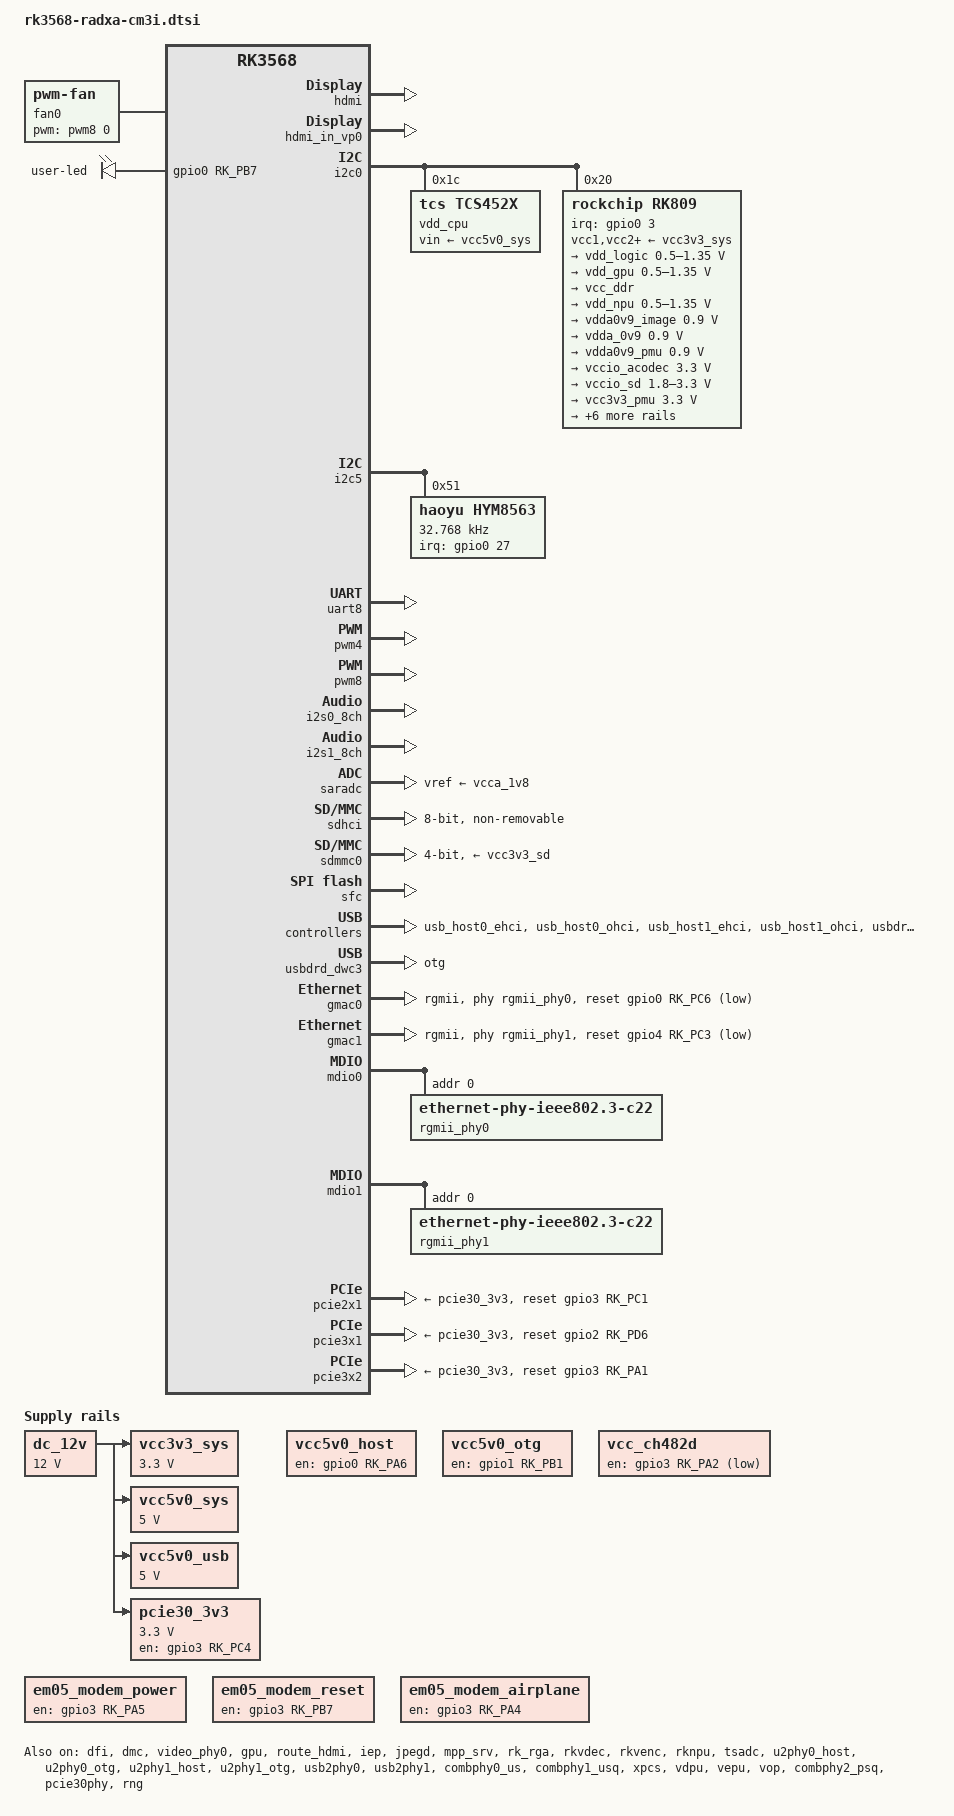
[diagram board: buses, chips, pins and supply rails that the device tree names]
/dts-v1/;
#include <dt-bindings/gpio/gpio.h>
#include <dt-bindings/pwm/pwm.h>
#include <dt-bindings/pinctrl/rockchip.h>
#include <dt-bindings/input/rk-input.h>
#include <dt-bindings/display/drm_mipi_dsi.h>
#include <dt-bindings/sensor-dev.h>
#include "rk3568.dtsi"
#include "rk3568-android.dtsi"
#include "rk3568-radxa-cm3i-10inch-FHD-touchscreen.dtsi"
#include "rk3568-radxa-cm3i_219.dtsi"


/ {
	compatible = "rockchip,rk3568-radxa-cm3i", "rockchip,rk3568";
	fan0: pwm-fan {
		compatible = "pwm-fan";
		#cooling-cells = <2>;
		cooling-levels = <0 64 128 192 255>;
		pwms = <&pwm8 0 10000 0>;
	};

	audiopwmout_diff: audiopwmout-diff {
		status = "disabled";
		compatible = "simple-audio-card";
		simple-audio-card,format = "i2s";
		simple-audio-card,name = "rockchip,audiopwmout-diff";
		simple-audio-card,mclk-fs = <256>;
		simple-audio-card,bitclock-master = <&master>;
		simple-audio-card,frame-master = <&master>;
		simple-audio-card,cpu {
			sound-dai = <&i2s3_2ch>;
		};
		master: simple-audio-card,codec {
			sound-dai = <&dig_acodec>;
		};
	};

	hdmi_sound: hdmi-sound {
		compatible = "simple-audio-card";
		simple-audio-card,format = "i2s";
		simple-audio-card,mclk-fs = <128>;
		simple-audio-card,name = "rockchip,hdmi";
		status = "okay";

		simple-audio-card,cpu {
				sound-dai = <&i2s0_8ch>;
		};
		simple-audio-card,codec {
				sound-dai = <&hdmi>;
		};
	};

	pdmics: dummy-codec {
		status = "disabled";
		compatible = "rockchip,dummy-codec";
		#sound-dai-cells = <0>;
	};

	pdm_mic_array: pdm-mic-array {
		status = "disabled";
		compatible = "simple-audio-card";
		simple-audio-card,name = "rockchip,pdm-mic-array";
		simple-audio-card,cpu {
			sound-dai = <&pdm>;
		};
		simple-audio-card,codec {
			sound-dai = <&pdmics>;
		};
	};

	rk809_sound: rk809-sound {
		status = "okay";
		compatible = "simple-audio-card";
		simple-audio-card,format = "i2s";
		simple-audio-card,name = "rockchip,rk809-codec";
		simple-audio-card,mclk-fs = <256>;

		simple-audio-card,cpu {
			sound-dai = <&i2s1_8ch>;
		};
		simple-audio-card,codec {
			sound-dai = <&rk809_codec>;
		};
	};

	dc_12v: dc-12v {
		compatible = "regulator-fixed";
		regulator-name = "dc_12v";
		regulator-always-on;
		regulator-boot-on;
		regulator-min-microvolt = <12000000>;
		regulator-max-microvolt = <12000000>;
	};

	vcc3v3_sys: vcc3v3-sys {
		compatible = "regulator-fixed";
		regulator-name = "vcc3v3_sys";
		regulator-always-on;
		regulator-boot-on;
		regulator-min-microvolt = <3300000>;
		regulator-max-microvolt = <3300000>;
		vin-supply = <&dc_12v>;
	};

	vcc5v0_sys: vcc5v0-sys {
		compatible = "regulator-fixed";
		regulator-name = "vcc5v0_sys";
		regulator-always-on;
		regulator-boot-on;
		regulator-min-microvolt = <5000000>;
		regulator-max-microvolt = <5000000>;
		vin-supply = <&dc_12v>;
	};

	vcc5v0_usb: vcc5v0-usb {
		compatible = "regulator-fixed";
		regulator-name = "vcc5v0_usb";
		regulator-always-on;
		regulator-boot-on;
		regulator-min-microvolt = <5000000>;
		regulator-max-microvolt = <5000000>;
		vin-supply = <&dc_12v>;
	};

	vcc5v0_host: vcc5v0-host-regulator {
		compatible = "regulator-fixed";
		enable-active-high;
		gpio = <&gpio0 RK_PA6 GPIO_ACTIVE_HIGH>;
		pinctrl-names = "default";
		pinctrl-0 = <&vcc5v0_host_en>;
		regulator-name = "vcc5v0_host";
		regulator-always-on;
	};

	vcc5v0_otg: vcc5v0-otg-regulator {
		compatible = "regulator-fixed";
		enable-active-high;
		gpio = <&gpio1 RK_PB1 GPIO_ACTIVE_HIGH>;
		pinctrl-names = "default";
		pinctrl-0 = <&vcc5v0_otg_en>;
		regulator-name = "vcc5v0_otg";
	};

	pcie30_3v3: gpio-regulator {
		compatible = "regulator-fixed";
		regulator-name = "vcc3v3_pcie";
		regulator-min-microvolt = <3300000>;
		regulator-max-microvolt = <3300000>;
		enable-active-high;
		gpio = <&gpio3 RK_PC4 GPIO_ACTIVE_HIGH>;
		startup-delay-us = <5000>;
		vin-supply = <&dc_12v>;
	};

	gpio_leds: gpio-leds {
		compatible = "gpio-leds";
		status = "okay";

		user-led {
			gpios = <&gpio0 RK_PB7 GPIO_ACTIVE_HIGH>;
			linux,default-trigger = "heartbeat";
			default-state = "on";
			pinctrl-0 = <&user_led>;
		};
	};

	test-power {
		status = "okay";
	};

	vcc_ch482d: vcc-ch482d-regulator {
		compatible = "regulator-fixed";
		gpio = <&gpio3 RK_PA2 GPIO_ACTIVE_LOW>;
		pinctrl-names = "default";
		pinctrl-0 = <&ch482d_en>;
		regulator-name = "vcc_ch482d1";
		regulator-always-on;
		regulator-boot-on;
	};

	em05_modem_power: em05-modem-power-regulator {
		compatible = "regulator-fixed";
		regulator-name = "em05_modem_power";
		enable-active-high;
		gpio = <&gpio3 RK_PA5 GPIO_ACTIVE_HIGH>;
		regulator-boot-on;
		regulator-always-on;
	};

	em05_modem_reset: em05-modem-reset-regulator {
		compatible = "regulator-fixed";
		regulator-name = "em05_modem_reset";
		enable-active-high;
		gpio = <&gpio3 RK_PB7 GPIO_ACTIVE_HIGH>;
		regulator-boot-on;
		regulator-always-on;
	};

	em05_modem_airplane: em05-modem-airplane-regulator {
		compatible = "regulator-fixed";
		regulator-name = "em05_modem_airplane";
		enable-active-high;
		gpio = <&gpio3 RK_PA4 GPIO_ACTIVE_HIGH>;
		regulator-boot-on;
		regulator-always-on;
	};
};

&cpu0 {
	cpu-supply = <&vdd_cpu>;
};

&dfi {
	status = "okay";
};

&dmc {
	center-supply = <&vdd_logic>;
	status = "okay";
};

&video_phy0 {
	status = "okay";
};

&gpu {
	mali-supply = <&vdd_gpu>;
	status = "okay";
};

&hdmi {
	status = "okay";
	rockchip,phy-table =
		<92812500  0x8009 0x0000 0x0270>,
		<165000000 0x800b 0x0000 0x026d>,
		<185625000 0x800b 0x0000 0x01ed>,
		<297000000 0x800b 0x0000 0x01ad>,
		<594000000 0x8029 0x0000 0x0088>,
		<000000000 0x0000 0x0000 0x0000>;
};

&hdmi_in_vp0 {
	status = "okay";
};

&hdmi_in_vp1 {
	status = "disabled";
};

&hdmi_sound {
	status = "okay";
};

&route_hdmi {
	status = "okay";
	connect = <&vp0_out_hdmi>;
};

&i2c0 {
	status = "okay";

	vdd_cpu: tcs4525@1c {
		compatible = "tcs,tcs452x";
		reg = <0x1c>;
		vin-supply = <&vcc5v0_sys>;
		regulator-compatible = "fan53555-reg";
		regulator-name = "vdd_cpu";
		regulator-min-microvolt = <712500>;
		regulator-max-microvolt = <1390000>;
		regulator-init-microvolt = <900000>;
		regulator-ramp-delay = <2300>;
		fcs,suspend-voltage-selector = <1>;
		regulator-boot-on;
		regulator-always-on;
		regulator-state-mem {
			regulator-off-in-suspend;
		};
	};

	rk809: pmic@20 {
		compatible = "rockchip,rk809";
		reg = <0x20>;
		interrupt-parent = <&gpio0>;
		interrupts = <3 IRQ_TYPE_LEVEL_LOW>;

		pinctrl-names = "default", "pmic-sleep",
				"pmic-power-off", "pmic-reset";
		pinctrl-0 = <&pmic_int>;
		pinctrl-1 = <&soc_slppin_slp>, <&rk817_slppin_slp>;
		pinctrl-2 = <&soc_slppin_gpio>, <&rk817_slppin_pwrdn>;
		pinctrl-3 = <&soc_slppin_gpio>, <&rk817_slppin_rst>;

		rockchip,system-power-controller;
		wakeup-source;
		#clock-cells = <1>;
		clock-output-names = "rk808-clkout1", "rk808-clkout2";
		//fb-inner-reg-idxs = <2>;
		/* 1: rst regs (default in codes), 0: rst the pmic */
		pmic-reset-func = <0>;
		/* not save the PMIC_POWER_EN register in uboot */
		not-save-power-en = <1>;

		vcc1-supply = <&vcc3v3_sys>;
		vcc2-supply = <&vcc3v3_sys>;
		vcc3-supply = <&vcc3v3_sys>;
		vcc4-supply = <&vcc3v3_sys>;
		vcc5-supply = <&vcc3v3_sys>;
		vcc6-supply = <&vcc3v3_sys>;
		vcc7-supply = <&vcc3v3_sys>;
		vcc8-supply = <&vcc3v3_sys>;
		vcc9-supply = <&vcc3v3_sys>;

		pwrkey {
			status = "okay";
		};

		pinctrl_rk8xx: pinctrl_rk8xx {
			gpio-controller;
			#gpio-cells = <2>;

			rk817_slppin_null: rk817_slppin_null {
				pins = "gpio_slp";
				function = "pin_fun0";
			};

			rk817_slppin_slp: rk817_slppin_slp {
				pins = "gpio_slp";
				function = "pin_fun1";
			};

			rk817_slppin_pwrdn: rk817_slppin_pwrdn {
				pins = "gpio_slp";
				function = "pin_fun2";
			};

			rk817_slppin_rst: rk817_slppin_rst {
				pins = "gpio_slp";
				function = "pin_fun3";
			};
		};

		regulators {
			vdd_logic: DCDC_REG1 {
				regulator-always-on;
				regulator-boot-on;
				regulator-min-microvolt = <500000>;
				regulator-max-microvolt = <1350000>;
				regulator-init-microvolt = <900000>;
				regulator-ramp-delay = <6001>;
				regulator-initial-mode = <0x2>;
				regulator-name = "vdd_logic";
				regulator-state-mem {
					regulator-off-in-suspend;
				};
			};

			vdd_gpu: DCDC_REG2 {
				regulator-always-on;
				regulator-boot-on;
				regulator-min-microvolt = <500000>;
				regulator-max-microvolt = <1350000>;
				regulator-init-microvolt = <900000>;
				regulator-ramp-delay = <6001>;
				regulator-initial-mode = <0x2>;
				regulator-name = "vdd_gpu";
				regulator-state-mem {
					regulator-off-in-suspend;
				};
			};

			vcc_ddr: DCDC_REG3 {
				regulator-always-on;
				regulator-boot-on;
				regulator-initial-mode = <0x2>;
				regulator-name = "vcc_ddr";
				regulator-state-mem {
					regulator-on-in-suspend;
				};
			};

			vdd_npu: DCDC_REG4 {
				regulator-always-on;
				regulator-boot-on;
				regulator-min-microvolt = <500000>;
				regulator-max-microvolt = <1350000>;
				regulator-init-microvolt = <900000>;
				regulator-ramp-delay = <6001>;
				regulator-initial-mode = <0x2>;
				regulator-name = "vdd_npu";
				regulator-state-mem {
					regulator-off-in-suspend;
				};
			};

			vdda0v9_image: LDO_REG1 {
				regulator-boot-on;
				regulator-always-on;
				regulator-min-microvolt = <900000>;
				regulator-max-microvolt = <900000>;
				regulator-name = "vdda0v9_image";
				regulator-state-mem {
					regulator-off-in-suspend;
				};
			};

			vdda_0v9: LDO_REG2 {
				regulator-always-on;
				regulator-boot-on;
				regulator-min-microvolt = <900000>;
				regulator-max-microvolt = <900000>;
				regulator-name = "vdda_0v9";
				regulator-state-mem {
					regulator-off-in-suspend;
				};
			};

			vdda0v9_pmu: LDO_REG3 {
				regulator-always-on;
				regulator-boot-on;
				regulator-min-microvolt = <900000>;
				regulator-max-microvolt = <900000>;
				regulator-name = "vdda0v9_pmu";
				regulator-state-mem {
					regulator-on-in-suspend;
					regulator-suspend-microvolt = <900000>;
				};
			};

			vccio_acodec: LDO_REG4 {
				regulator-always-on;
				regulator-boot-on;
				regulator-min-microvolt = <3300000>;
				regulator-max-microvolt = <3300000>;
				regulator-name = "vccio_acodec";
				regulator-state-mem {
					regulator-off-in-suspend;
				};
			};

			vccio_sd: LDO_REG5 {
				regulator-always-on;
				regulator-boot-on;
				regulator-min-microvolt = <1800000>;
				regulator-max-microvolt = <3300000>;
				regulator-name = "vccio_sd";
				regulator-state-mem {
					regulator-off-in-suspend;
				};
			};

			vcc3v3_pmu: LDO_REG6 {
				regulator-always-on;
				regulator-boot-on;
				regulator-min-microvolt = <3300000>;
				regulator-max-microvolt = <3300000>;
				regulator-name = "vcc3v3_pmu";
				regulator-state-mem {
					regulator-on-in-suspend;
					regulator-suspend-microvolt = <3300000>;
				};
			};

			vcca_1v8: LDO_REG7 {
				regulator-always-on;
				regulator-boot-on;
				regulator-min-microvolt = <1800000>;
				regulator-max-microvolt = <1800000>;
				regulator-name = "vcca_1v8";
				regulator-state-mem {
					regulator-off-in-suspend;
				};
			};

			vcca1v8_pmu: LDO_REG8 {
				regulator-always-on;
				regulator-boot-on;
				regulator-min-microvolt = <1800000>;
				regulator-max-microvolt = <1800000>;
				regulator-name = "vcca1v8_pmu";
				regulator-state-mem {
					regulator-on-in-suspend;
					regulator-suspend-microvolt = <1800000>;
				};
			};

			vcca1v8_image: LDO_REG9 {
				regulator-always-on;
				regulator-boot-on;
				regulator-min-microvolt = <1800000>;
				regulator-max-microvolt = <1800000>;
				regulator-name = "vcca1v8_image";
				regulator-state-mem {
					regulator-off-in-suspend;
				};
			};

			vcc_1v8: DCDC_REG5 {
				regulator-always-on;
				regulator-boot-on;
				regulator-min-microvolt = <1800000>;
				regulator-max-microvolt = <1800000>;
				regulator-name = "vcc_1v8";
				regulator-state-mem {
					regulator-off-in-suspend;
				};
			};

			vcc_3v3: SWITCH_REG1 {
				regulator-always-on;
				regulator-boot-on;
				regulator-name = "vcc_3v3";
				regulator-state-mem {
					regulator-off-in-suspend;
				};
			};

			vcc3v3_sd: SWITCH_REG2 {
				regulator-always-on;
				regulator-boot-on;
				regulator-name = "vcc3v3_sd";
				regulator-state-mem {
					regulator-off-in-suspend;
				};
			};
		};

		rk809_codec: codec {
			#sound-dai-cells = <0>;
			compatible = "rockchip,rk809-codec", "rockchip,rk817-codec";
			clocks = <&cru I2S1_MCLKOUT>;
			clock-names = "mclk";
			assigned-clocks = <&cru I2S1_MCLKOUT>, <&cru I2S1_MCLK_TX_IOE>;
			assigned-clock-rates = <12288000>;
			assigned-clock-parents = <&cru I2S1_MCLKOUT_TX>, <&cru I2S1_MCLKOUT_TX>;
			pinctrl-names = "default";
			pinctrl-0 = <&i2s1m0_mclk>;
			hp-volume = <20>;
			spk-volume = <3>;
			mic-in-differential;
			status = "okay";
		};
	};
};

//mipi i2c3
// &i2c3 {
// 	status = "okay";
// 	pinctrl-0 = <&i2c3m1_xfer>;	
// };

//RTC
&i2c5 {
	status = "okay";	
	pinctrl-0 = <&i2c5m0_xfer>;

		hym8563: hym8563@51 {
		compatible = "haoyu,hym8563";
		status = "okay";
		reg = <0x51>;
		#clock-cells = <0>;
		clock-frequency = <32768>;
		clock-output-names = "hym8563";
		pinctrl-names = "default";
		pinctrl-0 = <&hym8563_int>;
		interrupt-parent = <&gpio0>;
		interrupts = <27 IRQ_TYPE_LEVEL_LOW>;
	};
};

//bt
&uart8 {
	status = "okay";
	pinctrl-names = "default";
	pinctrl-0 = <&uart8m0_xfer &uart8m0_ctsn>;
};

&pwm4 {
	status = "okay";	//LCD0_BL_PWM4
};

//FAN
&pwm8 {
	status = "okay";
};

&i2s0_8ch {
	status = "okay";
};

&i2s1_8ch {
	status = "okay";
	rockchip,clk-trcm = <1>;
	pinctrl-names = "default";
	pinctrl-0 = <&i2s1m0_sclktx
		     &i2s1m0_lrcktx
		     &i2s1m0_sdi0
		     &i2s1m0_sdo0>;
};

&iep {
	status = "okay";
};

&iep_mmu {
	status = "okay";
};

&jpegd {
	status = "okay";
};

&jpegd_mmu {
	status = "okay";
};

&mpp_srv {
	status = "okay";
};

&pmu_io_domains {
	status = "okay";
	pmuio1-supply = <&vcc3v3_pmu>;
	pmuio2-supply = <&vcc_3v3>;
	vccio1-supply = <&vccio_acodec>;
	vccio3-supply = <&vccio_sd>;
	vccio4-supply = <&vcc_1v8>;
	vccio5-supply = <&vcc_3v3>;
	vccio6-supply = <&vcc_1v8>;
	vccio7-supply = <&vcc_3v3>;
};

&rk_rga {
	status = "okay";
};

&rkvdec {
	status = "okay";
};

&rkvdec_mmu {
	status = "okay";
};

&rkvenc {
	status = "okay";
};

&rkvenc_mmu {
	status = "okay";
};

&rknpu {
	memory-region = <&rknpu_reserved>;
	rknpu-supply = <&vdd_npu>;
	status = "okay";
};

&rknpu_mmu {
	status = "disabled";
};

&saradc {
	status = "okay";
	vref-supply = <&vcca_1v8>;
};

&sdhci {
	bus-width = <8>;
	supports-emmc;
	non-removable;
	rockchip,txclk-tapnum = <0x8>;
	max-frequency = <200000000>;
	status = "okay";
};

//sdcard
&sdmmc0 {
	max-frequency = <150000000>;
	supports-sd;
	bus-width = <4>;
	cap-mmc-highspeed;
	cap-sd-highspeed;
	disable-wp;
	sd-uhs-sdr104;
	vmmc-supply = <&vcc3v3_sd>;
	vqmmc-supply = <&vccio_sd>;
	pinctrl-names = "default";
	pinctrl-0 = <&sdmmc0_bus4 &sdmmc0_clk &sdmmc0_cmd &sdmmc0_det>;
	status = "okay";
};

//wifi、bt

&sfc {
	status = "okay";
};

&tsadc {
	status = "okay";
};

&u2phy0_host {
	status = "okay";
};

&u2phy0_otg {
	vbus-supply = <&vcc5v0_otg>;
	status = "okay";
};

&u2phy1_host {
	status = "okay";
};

&u2phy1_otg {
	status = "okay";
};

/* USB OTG/USB Host_1 USB 2.0 Comb PHY_0 */
&usb2phy0 {
	status = "okay";
};

/* USB Host_2/USB Host_3 USB 2.0 Comb PHY_1 */
&usb2phy1 {
	status = "okay";
};

/* USB 2.0 Host_2 EHCI controller for high speed */
&usb_host0_ehci {
	status = "okay";
};

/* USB 2.0 Host_2 OHCI controller for full/low speed */
&usb_host0_ohci {
	status = "okay";
};

/* USB 2.0 Host_3 EHCI controller for high speed */
&usb_host1_ehci {
	status = "okay";
};

/* USB 2.0 Host_3 OHCI controller for full/low speed */
&usb_host1_ohci {
	status = "okay";
};

&usbdrd_dwc3 {
	dr_mode = "otg";
	extcon=<&usb2phy0>;
	status="okay";
};

/* USB 3.0 OTG controller */
&usbdrd30 {
	status = "okay";
};

&usbhost_dwc3 {
	status = "okay";
};

/* USB 3.0 Host_1 controller */
&usbhost30 {
	status = "okay";
};

/* USB 3.0 OTG/SATA Combo PHY_0 */
&combphy0_us {
//	rockchip,dis-u3otg0-port;
	status = "okay";
};

/* USB 3.0 Host/SATA/QSGMII Combo PHY_1 */
&combphy1_usq {
//	rockchip,dis-u3otg1-port;
	status = "okay";
};

&sata0 {
	status = "disabled";
};

&sata1 {
	status = "disabled";
};

&sata2 {
	status = "disabled";
};

&xpcs {
	status="okay";
};

&vdpu {
	status = "okay";
};

&vdpu_mmu {
	status = "okay";
};

&vepu {
	status = "okay";
};

&vepu_mmu {
	status = "okay";
};

&vop {
	status = "okay";
	assigned-clocks = <&cru DCLK_VOP0>, <&cru DCLK_VOP1>;
	assigned-clock-parents = <&pmucru PLL_HPLL>, <&cru PLL_VPLL>;
	support-multi-area;
};

&vop_mmu {
	status = "okay";
};

&gmac0 {
	phy-mode = "rgmii";
	clock_in_out = "output";

	snps,reset-gpio = <&gpio0 RK_PC6 GPIO_ACTIVE_LOW>; //GMAC0_RSTn_GPIO3_B7
	snps,reset-active-low;
	/* Reset time is 20ms, 100ms for rtl8211f */
	snps,reset-delays-us = <0 20000 100000>;

	assigned-clocks = <&cru SCLK_GMAC0_RX_TX>, <&cru SCLK_GMAC0>;
	assigned-clock-parents = <&cru SCLK_GMAC0_RGMII_SPEED>;
	assigned-clock-rates = <0>, <125000000>;

	pinctrl-names = "default";
	pinctrl-0 = <&gmac0_miim
		     &gmac0_tx_bus2
		     &gmac0_rx_bus2
		     &gmac0_rgmii_clk
		     &gmac0_rgmii_bus>;

	tx_delay = <0x36>;
	rx_delay = <0x2d>;

	phy-handle = <&rgmii_phy0>;
	status = "okay";
};

&gmac1 {
	phy-mode = "rgmii";
	clock_in_out = "output";

	snps,reset-gpio = <&gpio4 RK_PC3 GPIO_ACTIVE_LOW>;	//GMAC1_RSTn_GPIO3_B0
	snps,reset-active-low;
	/* Reset time is 20ms, 100ms for rtl8211f */
	//snps,reset-delays-us = <0 20000 100000>;
	snps,reset-delays-us = <0 50000 150000>;

	assigned-clocks = <&cru SCLK_GMAC1_RX_TX>, <&cru SCLK_GMAC1>;
	assigned-clock-parents = <&cru SCLK_GMAC1_RGMII_SPEED>;
	assigned-clock-rates = <0>, <125000000>;

	pinctrl-names = "default";
	pinctrl-0 = <&gmac1m1_miim
		     &gmac1m1_tx_bus2
		     &gmac1m1_rx_bus2
		     &gmac1m1_rgmii_clk
		     &gmac1m1_rgmii_bus>;

	tx_delay = <0x47>;
	rx_delay = <0x28>;

	phy-handle = <&rgmii_phy1>;
	status = "okay";
};

&mdio0 {
	rgmii_phy0: phy@0 {
		compatible = "ethernet-phy-ieee802.3-c22";
		reg = <0x0>;
	};
};

&mdio1 {
	rgmii_phy1: phy@0 {
		compatible = "ethernet-phy-ieee802.3-c22";
		reg = <0x0>;
	};
};

&combphy2_psq {
	status = "okay";
};

&pcie2x1 {
	reset-gpios = <&gpio3 RK_PC1 GPIO_ACTIVE_HIGH>;
	vpcie3v3-supply = <&pcie30_3v3>;
	status = "okay";
};

&pcie30phy {
	status = "okay";
};

&pcie3x1 {
	rockchip,bifurcation;
	reset-gpios = <&gpio2 RK_PD6 GPIO_ACTIVE_HIGH>; 
	vpcie3v3-supply = <&pcie30_3v3>;
	status = "okay";
};

&pcie3x2 {
	rockchip,bifurcation;
	reset-gpios = <&gpio3 RK_PA1 GPIO_ACTIVE_HIGH>;
	vpcie3v3-supply = <&pcie30_3v3>;
	status = "okay";
};

&reserved_memory {
	rknpu_reserved: rknpu {
		compatible = "shared-dma-pool";
		inactive;
		reusable;
		size = <0x0 0x08000000>;
		alignment = <0x0 0x1000>;
	};
};

&rng {
	status = "okay";
};

&rockchip_suspend {
	status = "okay";
};

&can1 {
	assigned-clocks = <&cru CLK_CAN1>;
	assigned-clock-rates = <100000000>;
	pinctrl-names = "default";
	pinctrl-0 = <&can1m0_pins>;
	status = "disabled";
};

&pinctrl {
	pmic {
		pmic_int: pmic_int {
			rockchip,pins =
				<0 RK_PA3 RK_FUNC_GPIO &pcfg_pull_up>;
		};

		soc_slppin_gpio: soc_slppin_gpio {
			rockchip,pins =
				<0 RK_PA2 RK_FUNC_GPIO &pcfg_output_low>;
		};

		soc_slppin_slp: soc_slppin_slp {
			rockchip,pins =
				<0 RK_PA2 RK_FUNC_1 &pcfg_pull_none>;
		};

		soc_slppin_rst: soc_slppin_rst {
			rockchip,pins =
				<0 RK_PA2 RK_FUNC_2 &pcfg_pull_none>;
		};
	};
	
	usb {
		vcc5v0_host_en: vcc5v0-host-en {
			rockchip,pins = <0 RK_PA6 RK_FUNC_GPIO &pcfg_pull_none>;
		};

		vcc5v0_otg_en: vcc5v0-otg-en {
			rockchip,pins = <1 RK_PB1 RK_FUNC_GPIO &pcfg_pull_none>;
		};
	};

	ch482d {
		ch482d_en: ch482d-en {
			rockchip,pins = <3 RK_PA2 RK_FUNC_GPIO &pcfg_output_low>;
		};
	};

	hym8563 {
		hym8563_int: hym8563-int {
			rockchip,pins =
				<0 RK_PD3 0 &pcfg_pull_up>;
		};
	};

	leds {
		user_led: user-led {
			rockchip,pins = <0 RK_PB7 RK_FUNC_GPIO &pcfg_pull_none>;
		};
	};
};
